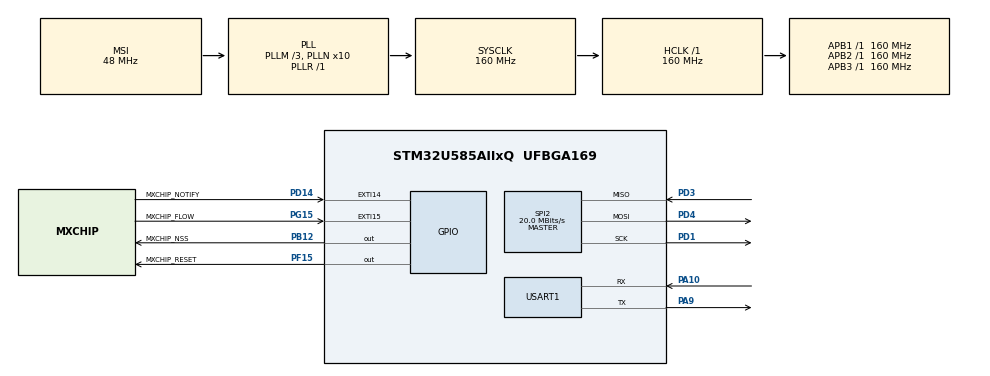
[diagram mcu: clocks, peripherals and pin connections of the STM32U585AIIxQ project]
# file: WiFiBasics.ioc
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CORTEX_M33_NS.userName=CORTEX_M33
GPDMA1.DESTINC_GPDMACH4=DMA_DINC_INCREMENTED
GPDMA1.DIRECTION_GPDMACH5=DMA_MEMORY_TO_PERIPH
GPDMA1.IPHANDLE_GPDMACH4-SIMPLEREQUEST_GPDMACH4=__NULL
GPDMA1.IPHANDLE_GPDMACH5-SIMPLEREQUEST_GPDMACH5=__NULL
GPDMA1.PRIORITY_GPDMACH4=DMA_LOW_PRIORITY_HIGH_WEIGHT
GPDMA1.PRIORITY_GPDMACH5=DMA_LOW_PRIORITY_HIGH_WEIGHT
GPDMA1.REQUEST_GPDMACH4=GPDMA1_REQUEST_SPI2_RX
GPDMA1.REQUEST_GPDMACH5=GPDMA1_REQUEST_SPI2_TX
GPDMA1.SRCINC_GPDMACH5=DMA_SINC_INCREMENTED
GPDMA1.TRANSFERALLOCATEDPORTDEST_GPDMACH4=DMA_DEST_ALLOCATED_PORT1
GPDMA1.TRANSFERALLOCATEDPORTDEST_GPDMACH5=DMA_DEST_ALLOCATED_PORT1
Mcu.Family=STM32U5
Mcu.Name=STM32U585AIIxQ
Mcu.Package=UFBGA169
NVIC.EXTI14_IRQn=true\:5\:0\:true\:false\:true\:true\:true
NVIC.EXTI15_IRQn=true\:5\:0\:true\:false\:true\:true\:true
NVIC.GPDMA1_Channel4_IRQn=true\:5\:0\:true\:false\:true\:false\:true
NVIC.GPDMA1_Channel5_IRQn=true\:5\:0\:true\:false\:true\:false\:true
NVIC.PriorityGroup=NVIC_PRIORITYGROUP_4
NVIC.SPI2_IRQn=true\:5\:0\:true\:false\:true\:true\:true
NVIC.TIM6_IRQn=true\:0\:0\:false\:false\:true\:false\:true
NVIC.TimeBase=TIM6_IRQn
NVIC.TimeBaseIP=TIM6
NVIC.USART1_IRQn=true\:5\:0\:true\:false\:true\:true\:true
PA10.Mode=Asynchronous
PA10.Signal=USART1_RX
PA13\ (JTMS/SWDIO).Mode=Trace_Asynchronous_SW
PA13\ (JTMS/SWDIO).Signal=DEBUG_JTMS-SWDIO
PA14\ (JTCK/SWCLK).Mode=Trace_Asynchronous_SW
PA14\ (JTCK/SWCLK).Signal=DEBUG_JTCK-SWCLK
PA9.Mode=Asynchronous
PA9.Signal=USART1_TX
PB12.GPIO_Label=MXCHIP_NSS
PB12.GPIO_Speed=GPIO_SPEED_FREQ_HIGH
PB12.PinState=GPIO_PIN_SET
PB12.Signal=GPIO_Output
PB3\ (JTDO/TRACESWO).Mode=Trace_Asynchronous_SW
PB3\ (JTDO/TRACESWO).Signal=DEBUG_JTDO-SWO
PD1.GPIO_Speed=GPIO_SPEED_FREQ_HIGH
PD1.Mode=Full_Duplex_Master
PD1.Signal=SPI2_SCK
PD14.GPIO_Label=MXCHIP_NOTIFY
PD14.GPIO_ModeDefaultEXTI=GPIO_MODE_IT_RISING
PD14.Signal=GPXTI14
PD3.GPIO_Speed=GPIO_SPEED_FREQ_HIGH
PD3.Mode=Full_Duplex_Master
PD3.Signal=SPI2_MISO
PD4.GPIO_Speed=GPIO_SPEED_FREQ_HIGH
PD4.Mode=Full_Duplex_Master
PD4.Signal=SPI2_MOSI
PF15.GPIO_Label=MXCHIP_RESET
PF15.Signal=GPIO_Output
PG15.GPIO_Label=MXCHIP_FLOW
PG15.GPIO_ModeDefaultEXTI=GPIO_MODE_IT_RISING
PG15.Signal=GPXTI15
ProjectManager.HeapSize=0x11000
ProjectManager.StackSize=0x2000
ProjectManager.TargetToolchain=EWARM V8.32
RCC.AHBFreq_Value=160000000
RCC.APB1Freq_Value=160000000
RCC.APB1TimFreq_Value=160000000
RCC.APB2Freq_Value=160000000
RCC.APB2TimFreq_Value=160000000
RCC.APB3Freq_Value=160000000
RCC.CortexFreq_Value=160000000
RCC.DACCLockSelectionVirtual=RCC_DAC1CLKSOURCE_LSI
RCC.DACCLockSelectionVirtualString=RCC_DAC1CLKSOURCE_LSI
RCC.EPOD_VALUE=48000000
RCC.HCLKFreq_Value=160000000
RCC.HSE_VALUE=16000000
RCC.HSI48_VALUE=48000000
RCC.HSI_VALUE=16000000
RCC.LSE_VALUE=32768
RCC.LSIDIV_VALUE=32000
RCC.MSIClockRange=RCC_MSIRANGE_0
RCC.MSI_VALUE=48000000
RCC.PLL1R=1
RCC.PLLFRACN=0
RCC.PLLM=3
RCC.PLLN=10
RCC.SPI2CLockSelection=RCC_SPI2CLKSOURCE_PCLK1
RCC.SYSCLKFreq_VALUE=160000000
RCC.SYSCLKSource=RCC_SYSCLKSOURCE_PLLCLK
RCC.USBFreq_Value=48000000
RCC.VCOOutputFreq_Value=160000000
SPI2.BaudRatePrescaler=SPI_BAUDRATEPRESCALER_8
SPI2.CRCCalculation=SPI_CRCCALCULATION_DISABLE
SPI2.CalculateBaudRate=20.0 MBits/s
SPI2.DataSize=SPI_DATASIZE_8BIT
SPI2.Direction=SPI_DIRECTION_2LINES
SPI2.Mode=SPI_MODE_MASTER
SPI2.NSSPMode=SPI_NSS_PULSE_DISABLE
SPI2.VirtualType=VM_MASTER
USART1.VirtualMode-Asynchronous=VM_ASYNC
VP_GPDMA1_VS_GPDMACH4.Mode=SIMPLEREQUEST_GPDMACH4
VP_GPDMA1_VS_GPDMACH5.Mode=SIMPLEREQUEST_GPDMACH5
VP_ICACHE_VS_ICACHE.Mode=DirectMappedCache
VP_PWR_VS_DBSignals.Mode=DisableDeadBatterySignals
VP_RNG_VS_RNG.Mode=RNG_Activate
VP_RTC_VS_RTC_Activate.Mode=RTC_Enabled
VP_SYS_VS_tim6.Mode=TIM6
board=custom

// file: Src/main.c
/* USER CODE BEGIN Header */
/**
  ******************************************************************************
  * @file           : main.c
  * @brief          : Main program body
  ******************************************************************************
  * @attention
  *
  * Copyright (c) 2021 STMicroelectronics.
  * All rights reserved.
  *
  * This software is licensed under terms that can be found in the LICENSE file
  * in the root directory of this software component.
  * If no LICENSE file comes with this software, it is provided AS-IS.
  *
  ******************************************************************************
  */
/* USER CODE END Header */
#include "main.h"

/* USER CODE BEGIN Includes */
#include <stdio.h>
#include <stdlib.h>
#include <string.h>
#include <inttypes.h>

#include "mx_wifi_conf.h"

/* USER CODE END Includes */

/* USER CODE BEGIN PD */

/* External declarations of the application entry point. */
void main_app(void);
/* USER CODE END PD */

RNG_HandleTypeDef hrng;

RTC_HandleTypeDef hrtc;

SPI_HandleTypeDef hspi2;
DMA_HandleTypeDef handle_GPDMA1_Channel5;
DMA_HandleTypeDef handle_GPDMA1_Channel4;

UART_HandleTypeDef huart1;

/* USER CODE BEGIN PV */
#define console_uart        huart1

__IO int uart_write_idx = 0;
#define UART_BUFFER_SIZE    20
char uart_buffer[UART_BUFFER_SIZE];
/* USER CODE END PV */

void SystemClock_Config(void);
static void MX_ICACHE_Init(void);
static void MX_GPIO_Init(void);
static void MX_USART1_UART_Init(void);
static void MX_RNG_Init(void);
static void MX_RTC_Init(void);
static void MX_GPDMA1_Init(void);
static void MX_SPI2_Init(void);

int main(void)
{

  /* MCU Configuration--------------------------------------------------------*/

  /* Reset of all peripherals, Initializes the Flash interface and the Systick. */
  HAL_Init();
  HAL_PWREx_EnableVddIO2();

  /* Configure the system clock */
  SystemClock_Config();

  /* Initialize all configured peripherals */
  MX_ICACHE_Init();
  MX_GPIO_Init();
  MX_USART1_UART_Init();
  MX_RNG_Init();
  MX_RTC_Init();
  MX_GPDMA1_Init();
  MX_SPI2_Init();
  /* USER CODE BEGIN 2 */

  /* Start getchar under interrupt. */
  HAL_UART_Receive_IT(&console_uart, (uint8_t *)&uart_buffer[0], 1);

  /* Force no buffer for the getc() usage. */
  setbuf(stdin, NULL);

  main_app();

  /* USER CODE END 2 */

  /* Infinite loop */
  while (1)
  {

  }
}

void SystemClock_Config(void)
{
  RCC_OscInitTypeDef RCC_OscInitStruct = {0};
  RCC_ClkInitTypeDef RCC_ClkInitStruct = {0};

  /** Configure the main internal regulator output voltage
  */
  if (HAL_PWREx_ControlVoltageScaling(PWR_REGULATOR_VOLTAGE_SCALE1) != HAL_OK)
  {
    Error_Handler();
  }

  /* Switch to SMPS regulator instead of LDO */
  if(HAL_PWREx_ConfigSupply(PWR_SMPS_SUPPLY) != HAL_OK)
  {
    Error_Handler();
  }

  /** Initializes the CPU, AHB and APB busses clocks
  */
  RCC_OscInitStruct.OscillatorType = RCC_OSCILLATORTYPE_HSI48|RCC_OSCILLATORTYPE_LSI
                              |RCC_OSCILLATORTYPE_MSI;
  RCC_OscInitStruct.HSI48State = RCC_HSI48_ON;
  RCC_OscInitStruct.LSIState = RCC_LSI_ON;
  RCC_OscInitStruct.MSIState = RCC_MSI_ON;
  RCC_OscInitStruct.MSICalibrationValue = RCC_MSICALIBRATION_DEFAULT;
  RCC_OscInitStruct.MSIClockRange = RCC_MSIRANGE_0;
  RCC_OscInitStruct.LSIDiv = RCC_LSI_DIV1;
  RCC_OscInitStruct.PLL.PLLState = RCC_PLL_ON;
  RCC_OscInitStruct.PLL.PLLSource = RCC_PLLSOURCE_MSI;
  RCC_OscInitStruct.PLL.PLLMBOOST = RCC_PLLMBOOST_DIV4;
  RCC_OscInitStruct.PLL.PLLM = 3;
  RCC_OscInitStruct.PLL.PLLN = 10;
  RCC_OscInitStruct.PLL.PLLP = 2;
  RCC_OscInitStruct.PLL.PLLQ = 2;
  RCC_OscInitStruct.PLL.PLLR = 1;
  RCC_OscInitStruct.PLL.PLLRGE = RCC_PLLVCIRANGE_1;
  RCC_OscInitStruct.PLL.PLLFRACN = 0;
  if (HAL_RCC_OscConfig(&RCC_OscInitStruct) != HAL_OK)
  {
    Error_Handler();
  }
  /** Initializes the CPU, AHB and APB busses clocks
  */
  RCC_ClkInitStruct.ClockType = RCC_CLOCKTYPE_HCLK|RCC_CLOCKTYPE_SYSCLK
                              |RCC_CLOCKTYPE_PCLK1|RCC_CLOCKTYPE_PCLK2
                              |RCC_CLOCKTYPE_PCLK3;
  RCC_ClkInitStruct.SYSCLKSource = RCC_SYSCLKSOURCE_PLLCLK;
  RCC_ClkInitStruct.AHBCLKDivider = RCC_SYSCLK_DIV1;
  RCC_ClkInitStruct.APB1CLKDivider = RCC_HCLK_DIV1;
  RCC_ClkInitStruct.APB2CLKDivider = RCC_HCLK_DIV1;
  RCC_ClkInitStruct.APB3CLKDivider = RCC_HCLK_DIV1;

  if (HAL_RCC_ClockConfig(&RCC_ClkInitStruct, FLASH_LATENCY_4) != HAL_OK)
  {
    Error_Handler();
  }
  __HAL_RCC_PWR_CLK_DISABLE();
}

static void MX_GPDMA1_Init(void)
{

  /* Peripheral clock enable */
  __HAL_RCC_GPDMA1_CLK_ENABLE();

  /* GPDMA1 interrupt Init */
    HAL_NVIC_SetPriority(GPDMA1_Channel4_IRQn, 5, 0);
    HAL_NVIC_EnableIRQ(GPDMA1_Channel4_IRQn);
    HAL_NVIC_SetPriority(GPDMA1_Channel5_IRQn, 5, 0);
    HAL_NVIC_EnableIRQ(GPDMA1_Channel5_IRQn);

}

static void MX_ICACHE_Init(void)
{

  /** Enable instruction cache in 1-way (direct mapped cache)
  */
  if (HAL_ICACHE_ConfigAssociativityMode(ICACHE_1WAY) != HAL_OK)
  {
    Error_Handler();
  }
  if (HAL_ICACHE_Enable() != HAL_OK)
  {
    Error_Handler();
  }

}

static void MX_RNG_Init(void)
{

  hrng.Instance = RNG;
  hrng.Init.ClockErrorDetection = RNG_CED_ENABLE;
  if (HAL_RNG_Init(&hrng) != HAL_OK)
  {
    Error_Handler();
  }

}

static void MX_RTC_Init(void)
{

  RTC_PrivilegeStateTypeDef privilegeState = {0};

  /** Initialize RTC Only
  */
  hrtc.Instance = RTC;
  hrtc.Init.HourFormat = RTC_HOURFORMAT_24;
  hrtc.Init.AsynchPrediv = 127;
  hrtc.Init.SynchPrediv = 255;
  hrtc.Init.OutPut = RTC_OUTPUT_DISABLE;
  hrtc.Init.OutPutRemap = RTC_OUTPUT_REMAP_NONE;
  hrtc.Init.OutPutPolarity = RTC_OUTPUT_POLARITY_HIGH;
  hrtc.Init.OutPutType = RTC_OUTPUT_TYPE_OPENDRAIN;
  hrtc.Init.OutPutPullUp = RTC_OUTPUT_PULLUP_NONE;
  hrtc.Init.BinMode = RTC_BINARY_NONE;
  if (HAL_RTC_Init(&hrtc) != HAL_OK)
  {
    Error_Handler();
  }
  privilegeState.rtcPrivilegeFull = RTC_PRIVILEGE_FULL_NO;
  privilegeState.backupRegisterPrivZone = RTC_PRIVILEGE_BKUP_ZONE_NONE;
  privilegeState.backupRegisterStartZone2 = RTC_BKP_DR0;
  privilegeState.backupRegisterStartZone3 = RTC_BKP_DR0;
  if (HAL_RTCEx_PrivilegeModeSet(&hrtc, &privilegeState) != HAL_OK)
  {
    Error_Handler();
  }

}

static void MX_SPI2_Init(void)
{

  SPI_AutonomousModeConfTypeDef HAL_SPI_AutonomousMode_Cfg_Struct = {0};

  /* SPI2 parameter configuration*/
  hspi2.Instance = SPI2;
  hspi2.Init.Mode = SPI_MODE_MASTER;
  hspi2.Init.Direction = SPI_DIRECTION_2LINES;
  hspi2.Init.DataSize = SPI_DATASIZE_8BIT;
  hspi2.Init.CLKPolarity = SPI_POLARITY_LOW;
  hspi2.Init.CLKPhase = SPI_PHASE_1EDGE;
  hspi2.Init.NSS = SPI_NSS_SOFT;
  hspi2.Init.BaudRatePrescaler = SPI_BAUDRATEPRESCALER_8;
  hspi2.Init.FirstBit = SPI_FIRSTBIT_MSB;
  hspi2.Init.TIMode = SPI_TIMODE_DISABLE;
  hspi2.Init.CRCCalculation = SPI_CRCCALCULATION_DISABLE;
  hspi2.Init.CRCPolynomial = 0x7;
  hspi2.Init.NSSPMode = SPI_NSS_PULSE_DISABLE;
  hspi2.Init.NSSPolarity = SPI_NSS_POLARITY_LOW;
  hspi2.Init.FifoThreshold = SPI_FIFO_THRESHOLD_01DATA;
  hspi2.Init.TxCRCInitializationPattern = SPI_CRC_INITIALIZATION_ALL_ZERO_PATTERN;
  hspi2.Init.RxCRCInitializationPattern = SPI_CRC_INITIALIZATION_ALL_ZERO_PATTERN;
  hspi2.Init.MasterSSIdleness = SPI_MASTER_SS_IDLENESS_00CYCLE;
  hspi2.Init.MasterInterDataIdleness = SPI_MASTER_INTERDATA_IDLENESS_00CYCLE;
  hspi2.Init.MasterReceiverAutoSusp = SPI_MASTER_RX_AUTOSUSP_DISABLE;
  hspi2.Init.MasterKeepIOState = SPI_MASTER_KEEP_IO_STATE_DISABLE;
  hspi2.Init.IOSwap = SPI_IO_SWAP_DISABLE;
  hspi2.Init.ReadyMasterManagement = SPI_RDY_MASTER_MANAGEMENT_INTERNALLY;
  hspi2.Init.ReadyPolarity = SPI_RDY_POLARITY_HIGH;
  if (HAL_SPI_Init(&hspi2) != HAL_OK)
  {
    Error_Handler();
  }
  HAL_SPI_AutonomousMode_Cfg_Struct.TriggerState = SPI_AUTO_MODE_DISABLE;
  HAL_SPI_AutonomousMode_Cfg_Struct.TriggerSelection = SPI_GRP1_GPDMA_CH0_TCF_TRG;
  HAL_SPI_AutonomousMode_Cfg_Struct.TriggerPolarity = SPI_TRIG_POLARITY_RISING;
  if (HAL_SPIEx_SetConfigAutonomousMode(&hspi2, &HAL_SPI_AutonomousMode_Cfg_Struct) != HAL_OK)
  {
    Error_Handler();
  }
  /* USER CODE BEGIN SPI2_Init 2 */
  SPI2->CFG1 |= 0x00000007 << SPI_CFG1_CRCSIZE_Pos;
  /* USER CODE END SPI2_Init 2 */

}

static void MX_USART1_UART_Init(void)
{

  huart1.Instance = USART1;
  huart1.Init.BaudRate = 115200;
  huart1.Init.WordLength = UART_WORDLENGTH_8B;
  huart1.Init.StopBits = UART_STOPBITS_1;
  huart1.Init.Parity = UART_PARITY_NONE;
  huart1.Init.Mode = UART_MODE_TX_RX;
  huart1.Init.HwFlowCtl = UART_HWCONTROL_NONE;
  huart1.Init.OverSampling = UART_OVERSAMPLING_16;
  huart1.Init.OneBitSampling = UART_ONE_BIT_SAMPLE_DISABLE;
  huart1.Init.ClockPrescaler = UART_PRESCALER_DIV1;
  huart1.AdvancedInit.AdvFeatureInit = UART_ADVFEATURE_NO_INIT;
  if (HAL_UART_Init(&huart1) != HAL_OK)
  {
    Error_Handler();
  }
  if (HAL_UARTEx_SetTxFifoThreshold(&huart1, UART_TXFIFO_THRESHOLD_1_8) != HAL_OK)
  {
    Error_Handler();
  }
  if (HAL_UARTEx_SetRxFifoThreshold(&huart1, UART_RXFIFO_THRESHOLD_1_8) != HAL_OK)
  {
    Error_Handler();
  }
  if (HAL_UARTEx_DisableFifoMode(&huart1) != HAL_OK)
  {
    Error_Handler();
  }

}

static void MX_GPIO_Init(void)
{
  GPIO_InitTypeDef GPIO_InitStruct = {0};

  /* GPIO Ports Clock Enable */
  __HAL_RCC_GPIOG_CLK_ENABLE();
  __HAL_RCC_GPIOD_CLK_ENABLE();
  __HAL_RCC_GPIOA_CLK_ENABLE();
  __HAL_RCC_GPIOB_CLK_ENABLE();
  __HAL_RCC_GPIOF_CLK_ENABLE();

  /*Configure GPIO pin Output Level */
  HAL_GPIO_WritePin(MXCHIP_NSS_GPIO_Port, MXCHIP_NSS_Pin, GPIO_PIN_SET);

  /*Configure GPIO pin Output Level */
  HAL_GPIO_WritePin(MXCHIP_RESET_GPIO_Port, MXCHIP_RESET_Pin, GPIO_PIN_RESET);

  /*Configure GPIO pin : MXCHIP_FLOW_Pin */
  GPIO_InitStruct.Pin = MXCHIP_FLOW_Pin;
  GPIO_InitStruct.Mode = GPIO_MODE_IT_RISING;
  GPIO_InitStruct.Pull = GPIO_NOPULL;
  HAL_GPIO_Init(MXCHIP_FLOW_GPIO_Port, &GPIO_InitStruct);

  /*Configure GPIO pin : MXCHIP_NOTIFY_Pin */
  GPIO_InitStruct.Pin = MXCHIP_NOTIFY_Pin;
  GPIO_InitStruct.Mode = GPIO_MODE_IT_RISING;
  GPIO_InitStruct.Pull = GPIO_NOPULL;
  HAL_GPIO_Init(MXCHIP_NOTIFY_GPIO_Port, &GPIO_InitStruct);

  /*Configure GPIO pin : MXCHIP_NSS_Pin */
  GPIO_InitStruct.Pin = MXCHIP_NSS_Pin;
  GPIO_InitStruct.Mode = GPIO_MODE_OUTPUT_PP;
  GPIO_InitStruct.Pull = GPIO_NOPULL;
  GPIO_InitStruct.Speed = GPIO_SPEED_FREQ_HIGH;
  HAL_GPIO_Init(MXCHIP_NSS_GPIO_Port, &GPIO_InitStruct);

  /*Configure GPIO pin : MXCHIP_RESET_Pin */
  GPIO_InitStruct.Pin = MXCHIP_RESET_Pin;
  GPIO_InitStruct.Mode = GPIO_MODE_OUTPUT_PP;
  GPIO_InitStruct.Pull = GPIO_NOPULL;
  GPIO_InitStruct.Speed = GPIO_SPEED_FREQ_LOW;
  HAL_GPIO_Init(MXCHIP_RESET_GPIO_Port, &GPIO_InitStruct);

  /* EXTI interrupt init*/
  HAL_NVIC_SetPriority(EXTI14_IRQn, 5, 0);
  HAL_NVIC_EnableIRQ(EXTI14_IRQn);

  HAL_NVIC_SetPriority(EXTI15_IRQn, 5, 0);
  HAL_NVIC_EnableIRQ(EXTI15_IRQn);

}

/* USER CODE BEGIN 4 */
#if (defined(__GNUC__) && !defined(__ARMCC_VERSION))
/**
  * With GCC,
  * small printf (option LD Linker->Libraries->Small printf set to 'Yes')
  * calls __io_putchar()
  */
#define PUTCHAR_PROTOTYPE int __io_putchar(int ch)

#elif defined ( __ICCARM__ )
#define PUTCHAR_PROTOTYPE int fputc(int ch, FILE *f)

#elif defined (__ARMCC_VERSION)
#define PUTCHAR_PROTOTYPE int fputc(int ch, FILE *f)
#endif /* __GNUC__ */

/**
  * @brief  Retargets the C library printf function to the USART.
  * @param  None
  * @retval None
  */
PUTCHAR_PROTOTYPE
{
  /* Write a character to the USART1. */
  HAL_UART_Transmit(&huart1, (uint8_t *)&ch, 1, 0xFFFF);

  return ch;
}

#if (defined(__GNUC__) && !defined(__ARMCC_VERSION))
#define GETCHAR_PROTOTYPE int __io_getchar(void)

#elif defined ( __ICCARM__ )
#define GETCHAR_PROTOTYPE int fgetc(FILE *f)

#elif defined(__ARMCC_VERSION)
#define GETCHAR_PROTOTYPE int fgetc(FILE *f)
#endif /* __GNUC__ */

/**
  * @brief  Retargets the C library scanf function to the USART.
  * @param  None
  * @retval None
  */
GETCHAR_PROTOTYPE
{
  static int uart_read_idx = 0;
  char ch;

  while (uart_write_idx == uart_read_idx)
  {
    HAL_Delay(5);
  }
  ch = uart_buffer[uart_read_idx++];
  if (uart_read_idx == UART_BUFFER_SIZE)
  {
    uart_read_idx = 0;
  }
  return ch;
}

#if MX_WIFI_USE_SPI == 1
/**
  * @brief Rx Transfer completed callback.
  * @param  hspi: pointer to a SPI_HandleTypeDef structure that contains
  *               the configuration information for SPI module.
  * @retval None
  */
void HAL_SPI_RxCpltCallback(SPI_HandleTypeDef *hspi)
{
  if (hspi == &hspi2)
  {
    HAL_SPI_TransferCallback(hspi);
  }
}

/**
  * @brief Tx Transfer completed callback.
  * @param  hspi: pointer to a SPI_HandleTypeDef structure that contains
  *               the configuration information for SPI module.
  * @retval None
  */
void HAL_SPI_TxCpltCallback(SPI_HandleTypeDef *hspi)
{
  if (hspi == &hspi2)
  {
    HAL_SPI_TransferCallback(hspi);
  }
}

/**
  * @brief Tx and Rx Transfer completed callback.
  * @param  hspi: pointer to a SPI_HandleTypeDef structure that contains
  *               the configuration information for SPI module.
  * @retval None
  */
void HAL_SPI_TxRxCpltCallback(SPI_HandleTypeDef *hspi)
{
  if (hspi == &hspi2)
  {
    HAL_SPI_TransferCallback(hspi);
  }
}
#endif /* MX_WIFI_USE_SPI */

/**
  * @brief  EXTI line rising detection callback.
  * @param  GPIO_Pin: Specifies the port pin connected to corresponding EXTI line.
  * @retval None
  */
void HAL_GPIO_EXTI_Rising_Callback(uint16_t GPIO_Pin)
{
  switch (GPIO_Pin)
  {

#if MX_WIFI_USE_SPI == 1
    case (MXCHIP_FLOW_Pin):
      mxchip_WIFI_ISR(MXCHIP_FLOW_Pin);
      break;

    case (MXCHIP_NOTIFY_Pin):
      mxchip_WIFI_ISR(MXCHIP_NOTIFY_Pin);
      break;
#endif /* MX_WIFI_USE_SPI */

    default:
      break;
  }
}

void HAL_UART_RxCpltCallback(UART_HandleTypeDef *huart)
{
  if (huart == &console_uart)
  {
    uart_write_idx++;
    if (uart_write_idx == UART_BUFFER_SIZE)
    {
      uart_write_idx = 0;
    }
    HAL_UART_Receive_IT(huart, (uint8_t *)&uart_buffer[uart_write_idx], 1);
  }
#if MX_WIFI_USE_SPI == 0
  if (huart == &MXCHIP_UART)
  {
    MXchip_UART_RxCpltCallback(huart);
  }
#endif /* MX_WIFI_USE_SPI */
}
/* USER CODE END 4 */

 /**
  * @brief  Period elapsed callback in non blocking mode
  * @note   This function is called  when TIM6 interrupt took place, inside
  * HAL_TIM_IRQHandler(). It makes a direct call to HAL_IncTick() to increment
  * a global variable "uwTick" used as application time base.
  * @param  htim : TIM handle
  * @retval None
  */
void HAL_TIM_PeriodElapsedCallback(TIM_HandleTypeDef *htim)
{
  if (htim->Instance == TIM6) {
    HAL_IncTick();
  }
}

void Error_Handler(void)
{
}
